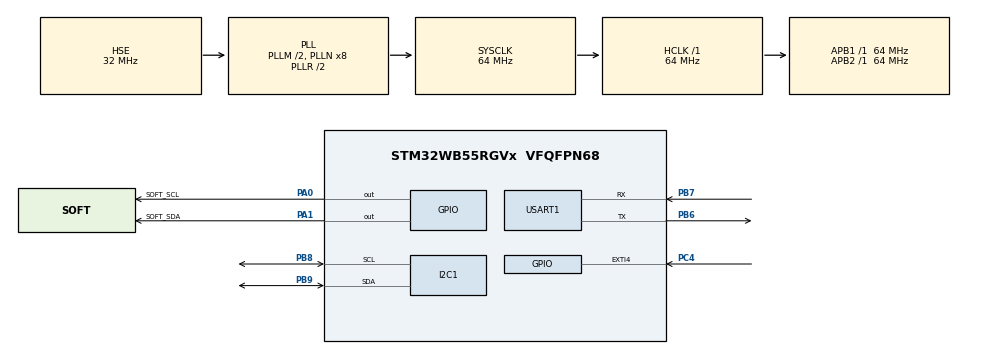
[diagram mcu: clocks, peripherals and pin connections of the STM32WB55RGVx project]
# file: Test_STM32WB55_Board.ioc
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FREERTOS.Tasks01=defaultTask,24,128,StartDefaultTask,Default,NULL,Dynamic,NULL,NULL
I2C1.OwnAddress=0x32
I2C1.Timing=0x10B17DB5
Mcu.Family=STM32WB
Mcu.Name=STM32WB55RGVx
Mcu.Package=VFQFPN68
NUCLEO-WB55RG.BUTTON=1
NUCLEO-WB55RG.BUTTON2=1
NUCLEO-WB55RG.BUTTON3=1
NUCLEO-WB55RG.LD1=true
NUCLEO-WB55RG.LD2=true
NUCLEO-WB55RG.LD3=true
NUCLEO-WB55RG.VCP=false
NVIC.EXTI0_IRQn=true\:5\:0\:false\:false\:true\:true\:false\:true\:true
NVIC.EXTI1_IRQn=true\:5\:0\:false\:false\:true\:true\:false\:true\:true
NVIC.EXTI4_IRQn=true\:5\:0\:false\:false\:true\:true\:true\:true\:true
NVIC.I2C1_EV_IRQn=true\:5\:0\:false\:false\:true\:true\:true\:true\:true
NVIC.PriorityGroup=NVIC_PRIORITYGROUP_4
NVIC.TIM1_UP_TIM16_IRQn=true\:15\:0\:false\:false\:true\:false\:false\:true\:true
NVIC.TimeBase=TIM1_UP_TIM16_IRQn
NVIC.TimeBaseIP=TIM16
OSC_IN.GPIO_Label=RCC_OSC_IN
OSC_IN.Mode=HSE-External-Oscillator
OSC_IN.Signal=RCC_OSC_IN
OSC_OUT.GPIO_Label=RCC_OSC_OUT
OSC_OUT.Mode=HSE-External-Oscillator
OSC_OUT.Signal=RCC_OSC_OUT
PA0.GPIO_Label=SOFT_SCL
PA0.GPIO_ModeDefaultOutputPP=GPIO_MODE_OUTPUT_OD
PA0.GPIO_PuPd=GPIO_PULLUP
PA0.GPIO_Speed=GPIO_SPEED_FREQ_VERY_HIGH
PA0.PinState=GPIO_PIN_SET
PA0.Signal=GPIO_Output
PA1.GPIO_Label=SOFT_SDA
PA1.GPIO_ModeDefaultOutputPP=GPIO_MODE_OUTPUT_OD
PA1.GPIO_PuPd=GPIO_PULLUP
PA1.GPIO_Speed=GPIO_SPEED_FREQ_VERY_HIGH
PA1.PinState=GPIO_PIN_SET
PA1.Signal=GPIO_Output
PB6.Mode=Asynchronous
PB6.Signal=USART1_TX
PB7.Mode=Asynchronous
PB7.Signal=USART1_RX
PB8.Mode=I2C
PB8.Signal=I2C1_SCL
PB9.Mode=I2C
PB9.Signal=I2C1_SDA
PC4.Signal=GPXTI4
ProjectManager.HeapSize=0x200
ProjectManager.StackSize=0x400
ProjectManager.TargetToolchain=Makefile
RCC.ADCFreq_Value=64000000
RCC.AHB2CLKDivider=RCC_SYSCLK_DIV2
RCC.AHBFreq_Value=64000000
RCC.APB1Freq_Value=64000000
RCC.APB1TimFreq_Value=64000000
RCC.APB2Freq_Value=64000000
RCC.APB2TimFreq_Value=64000000
RCC.APB3Freq_Value=16000000
RCC.CortexFreq_Value=64000000
RCC.HCLKFreq_Value=64000000
RCC.HSE_VALUE=32000000
RCC.HSI48_VALUE=48000000
RCC.HSI_VALUE=16000000
RCC.LSE_VALUE=32768
RCC.MSIClockRange=RCC_MSIRANGE_10
RCC.PLLM=RCC_PLLM_DIV2
RCC.PLLSourceVirtual=RCC_PLLSOURCE_HSE
RCC.SMPSCLockSelection=RCC_SMPSCLKSOURCE_HSI
RCC.SMPSCLockSelectionVirtual=RCC_SMPSCLKSOURCE_HSI
RCC.SMPSCLockSelectionVirtualVirtual=RCC_SMPSCLKSOURCE_HSI
RCC.SMPSDivider=1
RCC.SYSCLKFreq_VALUE=64000000
RCC.SYSCLKSource=RCC_SYSCLKSOURCE_PLLCLK
RCC.USBFreq_Value=64000000
RCC.VCOOutputFreq_Value=128000000
USART1.VirtualMode-Asynchronous=VM_ASYNC
VP_FREERTOS_VS_CMSIS_V2.Mode=CMSIS_V2
VP_MEMORYMAP_VS_MEMORYMAP.Mode=CurAppReg
VP_NUCLEO-WB55RG_VS_BSP_COMMON.Mode=COMMON
VP_SYS_VS_tim16.Mode=TIM16
board=NUCLEO-WB55RG

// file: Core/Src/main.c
/* USER CODE BEGIN Header */
/**
  ******************************************************************************
  * @file           : main.c
  * @brief          : Main program body
  ******************************************************************************
  * @attention
  *
  * Copyright (c) 2026 STMicroelectronics.
  * All rights reserved.
  *
  * This software is licensed under terms that can be found in the LICENSE file
  * in the root directory of this software component.
  * If no LICENSE file comes with this software, it is provided AS-IS.
  *
  ******************************************************************************
  */
/* USER CODE END Header */
#include "main.h"
#include "cmsis_os2.h"
#include "FreeRTOS.h"

I2C_HandleTypeDef hi2c1;

UART_HandleTypeDef huart1;

/* Definitions for defaultTask */
osThreadId_t defaultTaskHandle;
const osThreadAttr_t defaultTask_attributes = {
  .name = "defaultTask",
  .priority = (osPriority_t) osPriorityNormal,
  .stack_size = 128 * 4
};
/* USER CODE BEGIN PV */
#include "soft_i2c.h"
// 定義 Semaphore 的 Handle
osSemaphoreId_t myBinarySem01Handle;

// 定義它的屬性 (名稱)
const osSemaphoreAttr_t myBinarySem01_attributes = {
  .name = "myBinarySem01"
};

// 接收緩衝區 (Slave 用)
uint8_t slave_rx_buffer[1];
volatile uint8_t button_pressed = 0;
// extern I2C_HandleTypeDef hi2c1; // 硬體 I2C Handle

// 定義 Mutex ID 與屬性
osMutexId_t myMutex01Handle;
const osMutexAttr_t myMutex01_attributes = {
  .name = "myMutex01"
};
osMutexId_t MutexAHandle;
const osMutexAttr_t MutexA_attributes = {.name = "MutexA"};

osMutexId_t MutexBHandle;
const osMutexAttr_t MutexB_attributes = {.name = "MutexB"};

// 定義兩個任務的屬性
osThreadId_t Task1Handle;
const osThreadAttr_t task1_attributes = {
  .name = "Task1",
  .stack_size = 128 * 4,
  .priority = (osPriority_t) osPriorityNormal,
};

osThreadId_t Task2Handle;
const osThreadAttr_t task2_attributes = {
  .name = "Task2",
  .stack_size = 128 * 4,
  .priority = (osPriority_t) osPriorityNormal,
};
/* USER CODE END PV */

void SystemClock_Config(void);
void PeriphCommonClock_Config(void);
static void MX_GPIO_Init(void);
static void MX_USART1_UART_Init(void);
static void MX_I2C1_Init(void);
void StartDefaultTask(void *argument);

/* USER CODE BEGIN PFP */
void StartTask1(void *argument);
void StartTask2(void *argument);
/* USER CODE END PFP */

/* USER CODE BEGIN 0 */
#include <stdio.h>
#include <stdlib.h> // 為了 malloc

// 讓 printf 能夠透過 UART1 輸出的關鍵函式
int _write(int file, char *ptr, int len) {
    // 確保這裡是用 huart1 (因為你的板子 VCP 是接在 UART1)
    extern UART_HandleTypeDef huart1;
    HAL_UART_Transmit(&huart1, (uint8_t *)ptr, len, 100);
    return len;
}
/* USER CODE END 0 */

int main(void)
{

  /* MCU Configuration--------------------------------------------------------*/

  /* Reset of all peripherals, Initializes the Flash interface and the Systick. */
  HAL_Init();

  /* Configure the system clock */
  SystemClock_Config();

  /* Configure the peripherals common clocks */
  PeriphCommonClock_Config();

  /* Initialize all configured peripherals */
  MX_GPIO_Init();
  MX_USART1_UART_Init();
  MX_I2C1_Init();

  /* Init scheduler */
  osKernelInitialize();

  /* USER CODE BEGIN RTOS_MUTEX */
  /* add mutexes, ... */
  myMutex01Handle = osMutexNew(&myMutex01_attributes);
  MutexAHandle = osMutexNew(&MutexA_attributes);
  MutexBHandle = osMutexNew(&MutexB_attributes);
  /* USER CODE END RTOS_MUTEX */

  /* USER CODE BEGIN RTOS_SEMAPHORES */
  /* add semaphores, ... */
  // 建立 Binary Semaphore
  // 參數 1: max_count (最大計數，Binary 就是 1)
  // 參數 2: initial_count (初始值，通常設 0 代表一開始是空的，要等 ISR 給信號)
  myBinarySem01Handle = osSemaphoreNew(1, 0, &myBinarySem01_attributes);
  /* USER CODE END RTOS_SEMAPHORES */

  /* Create the thread(s) */
  /* creation of defaultTask */
  defaultTaskHandle = osThreadNew(StartDefaultTask, NULL, &defaultTask_attributes);

  /* USER CODE BEGIN RTOS_THREADS */
  Task1Handle = osThreadNew(StartTask1, NULL, &task1_attributes);
  Task2Handle = osThreadNew(StartTask2, NULL, &task2_attributes);
  /* add threads, ... */
  /* USER CODE END RTOS_THREADS */

  /* Initialize leds */
  BSP_LED_Init(LED_BLUE);
  BSP_LED_Init(LED_GREEN);
  BSP_LED_Init(LED_RED);

  /* Initialize USER push-button, will be used to trigger an interrupt each time it's pressed.*/
  BSP_PB_Init(BUTTON_SW1, BUTTON_MODE_EXTI);
  BSP_PB_Init(BUTTON_SW2, BUTTON_MODE_EXTI);
  BSP_PB_Init(BUTTON_SW3, BUTTON_MODE_EXTI);

  /* Start scheduler */
  osKernelStart();

  /* We should never get here as control is now taken by the scheduler */

  /* Infinite loop */
  while (1)
  {

  }
}

void SystemClock_Config(void)
{
  RCC_OscInitTypeDef RCC_OscInitStruct = {0};
  RCC_ClkInitTypeDef RCC_ClkInitStruct = {0};

  /** Configure the main internal regulator output voltage
  */
  __HAL_PWR_VOLTAGESCALING_CONFIG(PWR_REGULATOR_VOLTAGE_SCALE1);

  /** Initializes the RCC Oscillators according to the specified parameters
  * in the RCC_OscInitTypeDef structure.
  */
  RCC_OscInitStruct.OscillatorType = RCC_OSCILLATORTYPE_HSI|RCC_OSCILLATORTYPE_HSE;
  RCC_OscInitStruct.HSEState = RCC_HSE_ON;
  RCC_OscInitStruct.HSIState = RCC_HSI_ON;
  RCC_OscInitStruct.HSICalibrationValue = RCC_HSICALIBRATION_DEFAULT;
  RCC_OscInitStruct.PLL.PLLState = RCC_PLL_ON;
  RCC_OscInitStruct.PLL.PLLSource = RCC_PLLSOURCE_HSE;
  RCC_OscInitStruct.PLL.PLLM = RCC_PLLM_DIV2;
  RCC_OscInitStruct.PLL.PLLN = 8;
  RCC_OscInitStruct.PLL.PLLP = RCC_PLLP_DIV2;
  RCC_OscInitStruct.PLL.PLLR = RCC_PLLR_DIV2;
  RCC_OscInitStruct.PLL.PLLQ = RCC_PLLQ_DIV2;
  if (HAL_RCC_OscConfig(&RCC_OscInitStruct) != HAL_OK)
  {
    Error_Handler();
  }

  /** Configure the SYSCLKSource, HCLK, PCLK1 and PCLK2 clocks dividers
  */
  RCC_ClkInitStruct.ClockType = RCC_CLOCKTYPE_HCLK4|RCC_CLOCKTYPE_HCLK2
                              |RCC_CLOCKTYPE_HCLK|RCC_CLOCKTYPE_SYSCLK
                              |RCC_CLOCKTYPE_PCLK1|RCC_CLOCKTYPE_PCLK2;
  RCC_ClkInitStruct.SYSCLKSource = RCC_SYSCLKSOURCE_PLLCLK;
  RCC_ClkInitStruct.AHBCLKDivider = RCC_SYSCLK_DIV1;
  RCC_ClkInitStruct.APB1CLKDivider = RCC_HCLK_DIV1;
  RCC_ClkInitStruct.APB2CLKDivider = RCC_HCLK_DIV1;
  RCC_ClkInitStruct.AHBCLK2Divider = RCC_SYSCLK_DIV2;
  RCC_ClkInitStruct.AHBCLK4Divider = RCC_SYSCLK_DIV1;

  if (HAL_RCC_ClockConfig(&RCC_ClkInitStruct, FLASH_LATENCY_3) != HAL_OK)
  {
    Error_Handler();
  }
}

void PeriphCommonClock_Config(void)
{
  RCC_PeriphCLKInitTypeDef PeriphClkInitStruct = {0};

  /** Initializes the peripherals clock
  */
  PeriphClkInitStruct.PeriphClockSelection = RCC_PERIPHCLK_SMPS;
  PeriphClkInitStruct.SmpsClockSelection = RCC_SMPSCLKSOURCE_HSI;
  PeriphClkInitStruct.SmpsDivSelection = RCC_SMPSCLKDIV_RANGE0;

  if (HAL_RCCEx_PeriphCLKConfig(&PeriphClkInitStruct) != HAL_OK)
  {
    Error_Handler();
  }
}

static void MX_I2C1_Init(void)
{

  hi2c1.Instance = I2C1;
  hi2c1.Init.Timing = 0x10B17DB5;
  hi2c1.Init.OwnAddress1 = 100;
  hi2c1.Init.AddressingMode = I2C_ADDRESSINGMODE_7BIT;
  hi2c1.Init.DualAddressMode = I2C_DUALADDRESS_DISABLE;
  hi2c1.Init.OwnAddress2 = 0;
  hi2c1.Init.OwnAddress2Masks = I2C_OA2_NOMASK;
  hi2c1.Init.GeneralCallMode = I2C_GENERALCALL_DISABLE;
  hi2c1.Init.NoStretchMode = I2C_NOSTRETCH_DISABLE;
  if (HAL_I2C_Init(&hi2c1) != HAL_OK)
  {
    Error_Handler();
  }

  /** Configure Analogue filter
  */
  if (HAL_I2CEx_ConfigAnalogFilter(&hi2c1, I2C_ANALOGFILTER_ENABLE) != HAL_OK)
  {
    Error_Handler();
  }

  /** Configure Digital filter
  */
  if (HAL_I2CEx_ConfigDigitalFilter(&hi2c1, 0) != HAL_OK)
  {
    Error_Handler();
  }

}

static void MX_USART1_UART_Init(void)
{

  huart1.Instance = USART1;
  huart1.Init.BaudRate = 115200;
  huart1.Init.WordLength = UART_WORDLENGTH_8B;
  huart1.Init.StopBits = UART_STOPBITS_1;
  huart1.Init.Parity = UART_PARITY_NONE;
  huart1.Init.Mode = UART_MODE_TX_RX;
  huart1.Init.HwFlowCtl = UART_HWCONTROL_NONE;
  huart1.Init.OverSampling = UART_OVERSAMPLING_16;
  huart1.Init.OneBitSampling = UART_ONE_BIT_SAMPLE_DISABLE;
  huart1.Init.ClockPrescaler = UART_PRESCALER_DIV1;
  huart1.AdvancedInit.AdvFeatureInit = UART_ADVFEATURE_NO_INIT;
  if (HAL_UART_Init(&huart1) != HAL_OK)
  {
    Error_Handler();
  }
  if (HAL_UARTEx_SetTxFifoThreshold(&huart1, UART_TXFIFO_THRESHOLD_1_8) != HAL_OK)
  {
    Error_Handler();
  }
  if (HAL_UARTEx_SetRxFifoThreshold(&huart1, UART_RXFIFO_THRESHOLD_1_8) != HAL_OK)
  {
    Error_Handler();
  }
  if (HAL_UARTEx_DisableFifoMode(&huart1) != HAL_OK)
  {
    Error_Handler();
  }

}

static void MX_GPIO_Init(void)
{
  GPIO_InitTypeDef GPIO_InitStruct = {0};

  /* GPIO Ports Clock Enable */
  __HAL_RCC_GPIOB_CLK_ENABLE();
  __HAL_RCC_GPIOA_CLK_ENABLE();

  /*Configure GPIO pin Output Level */
  HAL_GPIO_WritePin(GPIOA, SOFT_SCL_Pin|SOFT_SDA_Pin, GPIO_PIN_SET);

  /*Configure GPIO pins : SOFT_SCL_Pin SOFT_SDA_Pin */
  GPIO_InitStruct.Pin = SOFT_SCL_Pin|SOFT_SDA_Pin;
  GPIO_InitStruct.Mode = GPIO_MODE_OUTPUT_OD;
  GPIO_InitStruct.Pull = GPIO_PULLUP;
  GPIO_InitStruct.Speed = GPIO_SPEED_FREQ_VERY_HIGH;
  HAL_GPIO_Init(GPIOA, &GPIO_InitStruct);

}

/* USER CODE BEGIN 4 */
// 當硬體 I2C (Slave) 收到完整的資料後，HAL 庫會呼叫這個函式
void HAL_I2C_SlaveRxCpltCallback(I2C_HandleTypeDef *hi2c)
{
  // 判斷是不是 I2C1 叫的
  if (hi2c->Instance == I2C1) {
    // 1. 發送信號給 Task 2 (Printer)
    osSemaphoreRelease(myBinarySem01Handle);

    // 2. 重要！重新啟動接收功能，準備接下一筆
    // 如果不加這行，Slave 收完一次就會「收工」，下次 Master 再送它就不理了
    HAL_I2C_Slave_Receive_IT(&hi2c1, slave_rx_buffer, 1);
  }
}

volatile int32_t shared_counter = 0;
int32_t temp;

void mutex_test_task1() {
  osMutexAcquire(MutexAHandle, osWaitForever);
  printf("[Task 1] Got Mutex A! Waiting for Mutex B...\r\n");
  osDelay(100);
  osMutexAcquire(MutexBHandle, osWaitForever);
  printf("[Task 1] Got Both Mutexes! Working...\r\n");
  // 1. 讀取 (Read)
  temp = shared_counter;

  // 2. 故意拖台錢 (讓 Context Switch 更有機會發生在這裡)
  // 就像你剛把存款領出來，正在數錢，結果被叫去接電話
  for(int i=0; i<100; i++) { __NOP(); }

  // 3. 修改 (Modify)
  temp = temp + 1;

  // 4. 寫回 (Write)
  shared_counter = temp;
  osMutexRelease(MutexBHandle);
  osMutexRelease(MutexAHandle);
  osDelay(1);
  // 注意：這裡完全拿掉 osDelay，讓它全速搶 CPU
}

// 定義要發送的資料 (例如從 'A' 開始)
uint8_t data_to_send = 'A';

// Slave 地址 (假設 CubeMX 設 0x32) -> 寫入地址是 0x64
uint8_t slave_addr = (0x32 << 1) | 0;
void soft_i2c_test() {
// --- 開始 I2C 傳輸 ---
    SoftI2C_Start();

    // 1. 送地址
    if (SoftI2C_WriteByte(slave_addr)) {
        // 收到 ACK，代表 Slave 在線上

        // 2. 送資料
        SoftI2C_WriteByte(data_to_send);

        // 準備下一個字元 ('A' -> 'B' -> 'C'...)
        data_to_send++;
        if (data_to_send > 'Z') data_to_send = 'A';

    } else {
        // 沒收到 ACK (可能線沒接好)
        printf("[Master] NACK! Check wiring.\r\n");
    }

    SoftI2C_Stop();
    // --- 結束 I2C 傳輸 ---

    // 每 1 秒送一次
    osDelay(1000);
}

// 任務 1：負責 +1
void StartTask1(void *argument) {
  // 1. 初始化軟體 GPIO
  SoftI2C_Init();

  for(;;) {
    // mutex_test();
    soft_i2c_test();
  }
}

void mutex_test_task2() {
  static int32_t temp_b = 0;
  osMutexAcquire(MutexAHandle, osWaitForever);
  printf("[Task 2] Got Mutex A! Waiting for Mutex B...\r\n");
  osDelay(100);

  osMutexAcquire(MutexBHandle, osWaitForever);
  printf("[Task 2] Got Both Mutexes! Working... \r\n");

  // 1. 讀取
  temp_b = shared_counter;

  // 2. 故意拖台錢
  for(int i=0; i<100; i++) { __NOP(); }

  // 3. 修改
  temp_b = temp_b - 1; // 這裡是減！

  // 4. 寫回
  shared_counter = temp_b;
  osMutexRelease(MutexBHandle);
  osMutexRelease(MutexAHandle);
  osDelay(1);
}

// 任務 2：負責 -1
void StartTask2(void *argument) {
  HAL_I2C_Slave_Receive_IT(&hi2c1, slave_rx_buffer, 1);
  for(;;) {
    // mutex_test_task2();
    // 1. 死守 Semaphore (等待 ISR 通知)
    // 當 Callback 呼叫 osSemaphoreRelease 時，這裡會醒來
    if (osSemaphoreAcquire(myBinarySem01Handle, osWaitForever) == osOK) {

        // 2. 醒來後，把 Buffer 裡的資料印出來
        printf("[Slave] Received: %c (Hex: 0x%02X)\r\n",
               slave_rx_buffer[0], slave_rx_buffer[0]);
    }
  }
}
/* USER CODE END 4 */

void StartDefaultTask(void *argument)
{
  /* USER CODE BEGIN 5 */
  printf("Wait for button SW1...\r\n");

  while(button_pressed == 0) {

  }

  printf("Button Detected! Program Continue... \r\n");
  // 稍微延遲一下，讓 VCP 連線穩定
  HAL_Delay(500);

  printf("\r\n\r\n");
  printf("========================================\r\n");
  printf("   STM32WB55 Physical Memory Layout     \r\n");
  printf("========================================\r\n");

  // --- 變數宣告 ---
  static int static_var = 10;       // 預期：SRAM (.data)
  static int static_bss;            // 預期：SRAM (.bss)
  int stack_var = 20;               // 預期：SRAM (Stack 區)
  int *heap_var = (int*)malloc(4);  // 預期：SRAM (Heap 區)
  *heap_var = 30;

  // --- 印出地址 ---
  // 注意：在 MCU 上，我們看到的是真實的物理地址 (Physical Address)
  printf("[Code/Flash] .text address:  0x0800xxxx (Base)\r\n");
  printf("[Data/SRAM ] .data address:  %p\r\n", &static_var);
  printf("[BSS /SRAM ] .bss  address:  %p\r\n", &static_bss);
  printf("[Heap/SRAM ] Heap  address:  %p\r\n", heap_var);
  printf("[Stack/SRAM] Stack address:  %p\r\n", &stack_var);

  printf("========================================\r\n");

  free(heap_var);
  /* Infinite loop */
  for(;;)
  {
    // printf("Counter: %ld\r\n", shared_counter);
    osDelay(500); // 每 0.5 秒回報一次
  }
  /* USER CODE END 5 */
}

void HAL_TIM_PeriodElapsedCallback(TIM_HandleTypeDef *htim)
{
  if (htim->Instance == TIM16)
  {
    HAL_IncTick();
  }
}

void Error_Handler(void)
{
  __disable_irq();
  while (1)
  {
  }
}
